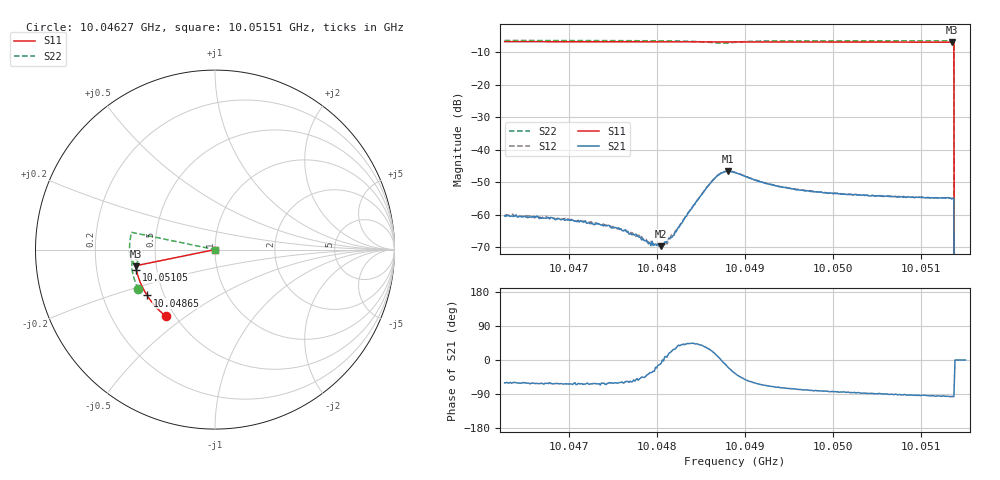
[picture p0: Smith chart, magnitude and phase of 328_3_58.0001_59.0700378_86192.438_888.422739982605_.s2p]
#  HZ  S  RI  R  50.00
! Rohde & Schwarz Vector Network Analyzer
! Rohde-Schwarz,ZNB20-2Port,1311601062101988,3.16
! Created: UTC 3/21/2024, 1:05:00 AM
! freq[Hz]  re:S11  im:S11  re:S21  im:S21  re:S12  im:S12  re:S22  im:S22
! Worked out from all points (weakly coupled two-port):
!   401 points, 10.04627 GHz to 10.05151 GHz, reference 50 ohm
!   highest |S21| = -46.62 dB at 10.04881 GHz (marker M1); lowest = -69.7 dB at 10.04805 GHz (marker M2)
!   lowest |S11| = -6.9 dB at 10.05135 GHz (marker M3), VSWR 2.65, Z = 19 - j4.41 ohm
!   |S11| at or under -10 dB: 10.05138 GHz to end of sweep
!   |S22| runs from - to -6.4 dB; largest |S21 - S12| = 0.00023
!   S11 on the Smith chart (normalised r, x): 10.04627 GHz: 0.45, -0.42; 10.04865 GHz: 0.40, -0.26; 10.05105 GHz: 0.38, -0.11; 10.05151 GHz: 1.00, +0.00
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1.0046268e10  -0.2734 -0.3718  0.000479 -0.000831  0.000536 -0.000802  -0.4268 -0.221
1.0046622e10  -0.2914 -0.3569  0.000427 -0.000811  0.0005 -0.000787  -0.4368 -0.1995
1.0047146e10  -0.3165 -0.3332  0.000369 -0.000704  0.000389 -0.000686  -0.4494 -0.1662
1.0047565e10  -0.3353 -0.3128  0.000314 -0.000545  0.000313 -0.000515  -0.4575 -0.1381
1.0047788e10  -0.3449 -0.3016  0.000274 -0.000369  0.000328 -0.000356  -0.4609 -0.1223
1.0047906e10  -0.3498 -0.2955  0.000284 -0.000216  0.000308 -0.000225  -0.4622 -0.1136
1.0048024e10  -0.3546 -0.2894  0.000321 -7.17e-05  0.000344 -7.66e-05  -0.4633 -0.1047
1.004805e10  -0.3556 -0.288  0.000325 -4.76e-05  0.00033 -3.96e-05  -0.4635 -0.1026
1.0048115e10  -0.3582 -0.2845  0.00039 5.31e-05  0.000347 7.25e-05  -0.4637 -0.0973
1.0048194e10  -0.3613 -0.2805  0.000427 0.000228  0.00042 0.000261  -0.4638 -0.0908
1.0048469e10  -0.3717 -0.2654  0.00128 0.00114  0.00127 0.00119  -0.4572 -0.0657
1.0048653e10  -0.3781 -0.2554  0.00341 0.00113  0.00334 0.00127  -0.4383 -0.0572
1.0048731e10  -0.3806 -0.251  0.0044 -1.2e-06  0.00442 0.000204  -0.4311 -0.0643
1.004881e10  -0.3834 -0.2469  0.0044 -0.00155  0.00449 -0.00134  -0.4339 -0.0742
1.0048888e10  -0.3861 -0.2426  0.00363 -0.00259  0.00377 -0.00245  -0.4432 -0.0782
1.0049268e10  -0.3984 -0.2209  0.00111 -0.00278  0.00123 -0.00273  -0.4698 -0.0512
1.0049766e10  -0.4126 -0.1912  0.000395 -0.00224  0.000493 -0.00227  -0.4756 -0.0126
1.0050644e10  -0.4321 -0.137  -1.6e-05 -0.0019  0.000112 -0.00193  -0.4738 0.0482
1.005105e10  -0.4388 -0.1114  -9.4e-05 -0.00182  -7.11e-05 -0.00181  -0.4701 0.0754
1.0051351e10  -0.4428 -0.0922  -0.000195 -0.00175  -0.000121 -0.00178  -0.4664 0.0949
1.0051417e10  0 0  0 0  0 0  0 0
1.0051509e10  0 0  0 0  0 0  0 0
